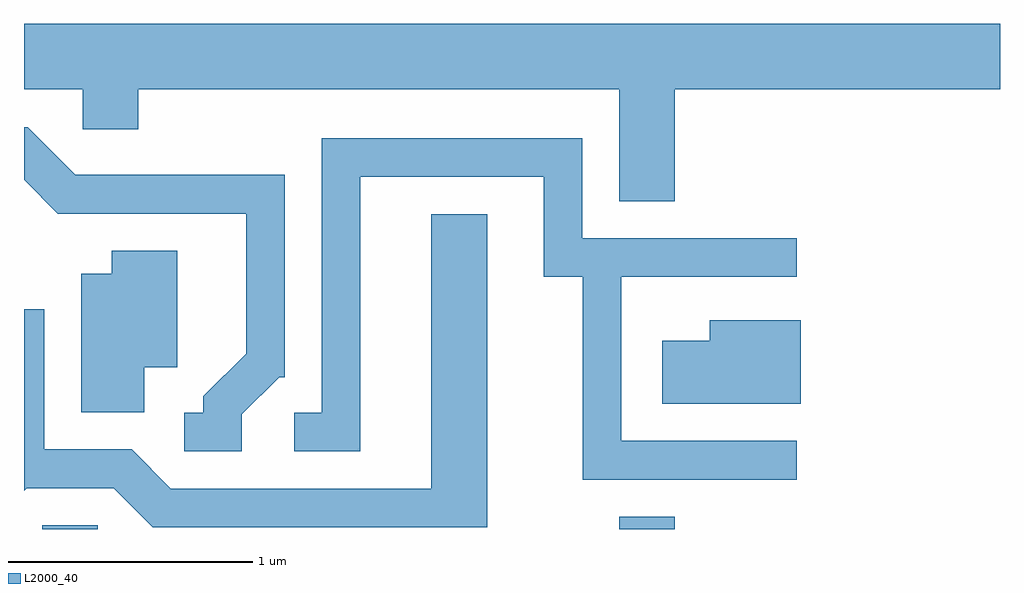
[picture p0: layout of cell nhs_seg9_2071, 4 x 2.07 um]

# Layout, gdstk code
import gdstk
lib = gdstk.Library(unit=1e-6, precision=1e-09)
def R(c, l, rs):  # rectangles x0, y0, x1, y1
    for r in rs: c.add(gdstk.rectangle(r[:2], r[2:], *l))
def P(c, l, *ps):  # polygons
    for p in ps: c.add(gdstk.Polygon(p, *l))
L2000_40 = (2000, 40)

nhs_seg9_2071 = lib.new_cell('nhs_seg9_2071')
R(nhs_seg9_2071, L2000_40, [(245.686,2014.432,245.914,2014.449), (248.051,2014.432,248.279,2014.484)])
P(nhs_seg9_2071, L2000_40, [(248.279,2016.236),(249.611,2016.236),(249.611,2016.504),(245.611,2016.504),(245.611,2016.236),(245.851,2016.236),(245.851,2016.071),(246.079,2016.071),(246.079,2016.236),(248.051,2016.236),(248.051,2015.776),(248.279,2015.776)],
  [(246.504,2014.904),(246.657,2015.056),(246.679,2015.056),(246.679,2015.884),(245.822,2015.884),(245.627,2016.079),(245.611,2016.079),(245.611,2015.864),(245.749,2015.726),(246.521,2015.726),(246.521,2015.152),(246.346,2014.977),(246.346,2014.909),(246.268,2014.909),(246.268,2014.751),(246.504,2014.751)],
  [(248.778,2014.794),(248.059,2014.794),(248.059,2015.466),(248.778,2015.466),(248.778,2015.624),(247.899,2015.624),(247.899,2016.034),(246.831,2016.034),(246.831,2014.909),(246.718,2014.909),(246.718,2014.751),(246.989,2014.751),(246.989,2015.876),(247.741,2015.876),(247.741,2015.466),(247.901,2015.466),(247.901,2014.636),(248.778,2014.636)],
  [(247.509,2015.724),(247.281,2015.724),(247.281,2014.599),(246.212,2014.599),(246.052,2014.759),(245.694,2014.759),(245.694,2015.333),(245.611,2015.333),(245.611,2014.59),(245.622,2014.601),(245.979,2014.601),(246.139,2014.441),(247.509,2014.441)],
  [(246.104,2015.096),(246.239,2015.096),(246.239,2015.574),(245.971,2015.574),(245.971,2015.479),(245.846,2015.479),(245.846,2014.911),(246.104,2014.911)],
  [(248.794,2015.289),(248.421,2015.289),(248.421,2015.204),(248.226,2015.204),(248.226,2014.946),(248.794,2014.946)])

lib.write_gds('nhs_seg9_2071.gds')
